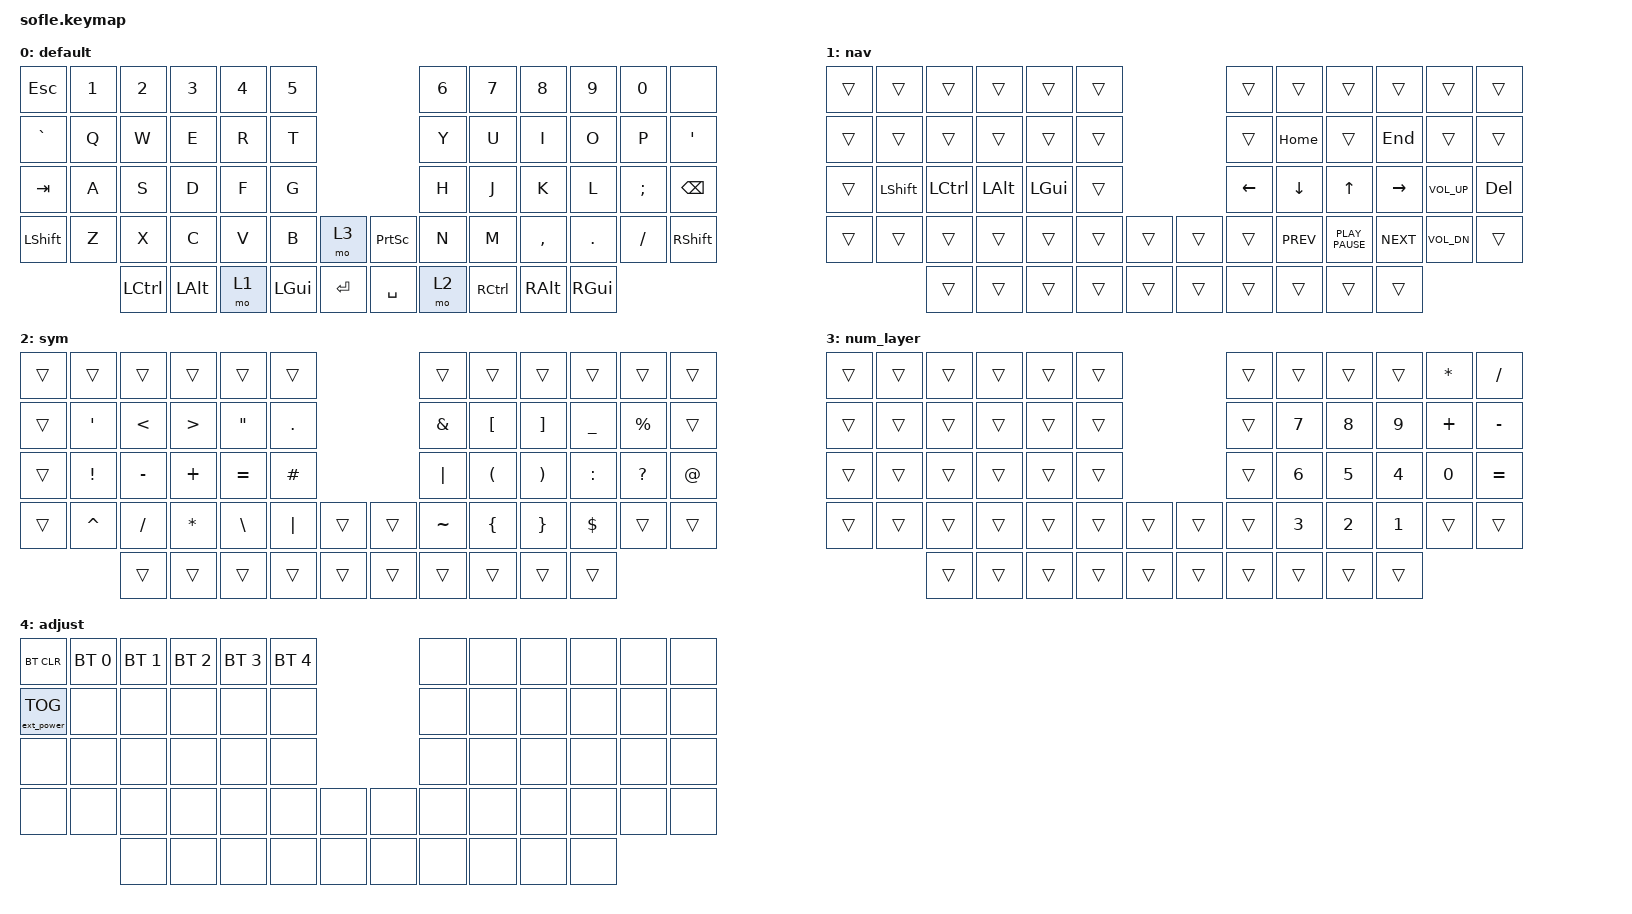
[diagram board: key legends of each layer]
/*
 * Copyright (c) 2020 The ZMK Contributors
 *
 * SPDX-License-Identifier: MIT
 */

#include <behaviors.dtsi>
#include <dt-bindings/zmk/bt.h>
#include <dt-bindings/zmk/ext_power.h>
#include <dt-bindings/zmk/keys.h>

#define BASE 0
#define NAV 1
#define RAISE 2
#define ADJUST 3

/ {
    // Activate ADJUST layer by pressing raise and lower

    conditional_layers {
        compatible = "zmk,conditional-layers";

        adjust_layer {
            if-layers = <1 2>;
            then-layer = <4>;
        };
    };

    combos {
        compatible = "zmk,combos";

        // PRESSING Q + W

        combo_esc {
            timeout-ms = <50>;
            key-positions = <13 14>;
            bindings = <&kp ESC>;
        };

        // PRESSING Z + X

        combo_tab {
            timeout-ms = <50>;
            key-positions = <38 39>;
            bindings = <&kp TAB>;
        };

        // PRESSING , + .

        combo_ctrl {
            timeout-ms = <50>;
            key-positions = <47 46>;
            bindings = <&kp LEFT_CONTROL>;
        };
    };

    keymap {
        compatible = "zmk,keymap";

        default_layer {
            display-name = "default";

            // ------------------------------------------------------------------------------------------------------------
            // |   `   |  1  |  2  |  3   |  4   |  5   |                   |  6   |  7    |  8    |  9   |   0   |       |
            // |  ESC  |  Q  |  W  |  E   |  R   |  T   |                   |  Y   |  U    |  I    |  O   |   P   | BKSPC |
            // |  TAB  |  A  |  S  |  D   |  F   |  G   |                   |  H   |  J    |  K    |  L   |   ;   |   '   |
            // | SHIFT |  Z  |  X  |  C   |  V   |  B   |  MUTE  |  |       |  N   |  M    |  ,    |  .   |   /   | SHIFT |
            //               | GUI | ALT  | CTRL | NAV|  ENTER |  | SPACE | RAISE| CTRL  | ALT   | GUI  |

            bindings = <
&kp ESC         &kp N1  &kp N2            &kp N3    &kp N4  &kp N5                                &kp N6  &kp N7     &kp N8     &kp N9    &kp N0    &none
&kp GRAVE       &kp Q   &kp W             &kp E     &kp R   &kp T                                 &kp Y   &kp U      &kp I      &kp O     &kp P     &kp APOSTROPHE
&kp TAB         &kp A   &kp S             &kp D     &kp F   &kp G                                 &kp H   &kp J      &kp K      &kp L     &kp SEMI  &kp BACKSPACE
&kp LEFT_SHIFT  &kp Z   &kp X             &kp C     &kp V   &kp B     &mo 3      &kp PRINTSCREEN  &kp N   &kp M      &kp COMMA  &kp DOT   &kp FSLH  &kp RSHFT
                        &kp LEFT_CONTROL  &kp LALT  &mo 1   &kp LGUI  &kp RET    &kp SPACE        &mo 2   &kp RCTRL  &kp RALT   &kp RGUI
            >;
        };

        nav_layer {
            display-name = "nav";

            // ------------------------------------------------------------------------------------------------------------
            // |       |     |     |      |      |      |                   |      |       |       |       |       |       |
            // |       |     |     |      |      |      |                   |      |       | HOME  |       |  END  |  DEL  |
            // |       |     |     |      |      |      |                   | LEFT |  UP   | DOWN  | RIGHT |  VOL+ |       |
            // |       |     |     |      |      |      |        |  |       |      |  PREV | PLAY  | NEXT  |  VOL- |       |
            //               |     |      |      |      |        |  |       |      |       |       |       | 

            bindings = <
&trans  &trans     &trans     &trans    &trans    &trans                    &trans    &trans      &trans            &trans      &trans        &trans
&trans  &trans     &trans     &trans    &trans    &trans                    &trans    &kp HOME    &trans            &kp END     &trans        &trans
&trans  &kp LSHFT  &kp LCTRL  &kp LALT  &kp LGUI  &trans                    &kp LEFT  &kp DOWN    &kp UP            &kp RIGHT   &kp K_VOL_UP  &kp DELETE
&trans  &trans     &trans     &trans    &trans    &trans  &trans    &trans  &trans    &kp K_PREV  &kp K_PLAY_PAUSE  &kp K_NEXT  &kp K_VOL_DN  &trans
                   &trans     &trans    &trans    &trans  &trans    &trans  &trans    &trans      &trans            &trans
            >;
        };

        sym_layer {
            display-name = "sym";

            // ------------------------------------------------------------------------------------------------------------
            // | BTCLR | BT1  | BT2  |  BT3  |  BT4  |  BT5 |                |      |      |       |      |       |       |
            // |       | INS  | PSCR | GUI   |       |      |                | PGUP |      |   ^   |      |       |       |
            // |       | ALT  | CTRL | SHIFT |       | CAPS |                | PGDN |   <- |   v   |  ->  |  DEL  | BKSPC |
            // |       | UNDO | CUT  | COPY  | PASTE |      |      |  |      |      |      |       |      |       |       |
            //                |      |       |       |      |      |  |      |      |      |       |      |

            bindings = <
&trans  &trans     &trans     &trans        &trans             &trans                      &trans     &trans                &trans                 &trans      &trans        &trans
&trans  &kp SQT    &kp LT     &kp GT        &kp DOUBLE_QUOTES  &kp DOT                     &kp AMPS   &kp LEFT_BRACKET      &kp RIGHT_BRACKET      &kp UNDER   &kp PERCENT   &trans
&trans  &kp EXCL   &kp MINUS  &kp PLUS      &kp EQUAL          &kp HASH                    &kp PIPE   &kp LEFT_PARENTHESIS  &kp RIGHT_PARENTHESIS  &kp COLON   &kp QUESTION  &kp AT
&trans  &kp CARET  &kp SLASH  &kp ASTERISK  &kp BACKSLASH      &kp PIPE  &trans    &trans  &kp TILDE  &kp LEFT_BRACE        &kp RIGHT_BRACE        &kp DOLLAR  &trans        &trans
                   &trans     &trans        &trans             &trans    &trans    &trans  &trans     &trans                &trans                 &trans
            >;
        };

        num_layer {
            bindings = <
&trans  &trans  &trans  &trans  &trans  &trans                    &trans  &trans  &trans  &trans  &kp STAR  &kp FSLH
&trans  &trans  &trans  &trans  &trans  &trans                    &trans  &kp N7  &kp N8  &kp N9  &kp PLUS  &kp MINUS
&trans  &trans  &trans  &trans  &trans  &trans                    &trans  &kp N6  &kp N5  &kp N4  &kp N0    &kp EQUAL
&trans  &trans  &trans  &trans  &trans  &trans  &trans    &trans  &trans  &kp N3  &kp N2  &kp N1  &trans    &trans
                &trans  &trans  &trans  &trans  &trans    &trans  &trans  &trans  &trans  &trans
            >;
        };

        adjust_layer {
            // ----------------------------------------------------------------------------------------------------------------------------
            // | BTCLR  |  BT1    |  BT2    |   BT3   |   BT4   |   BT5   |                  |      |      |       |      |       |       |
            // | EXTPWR |         |         |         |         |         |                  |      |      |       |      |       |       |
            // |        |         |         |         |         |         |                  |      |      |       |      |       |       |
            // |        |         |         |         |         |         |         | |      |      |      |       |      |       |       |
            //                    |         |         |         |         |         | |      |      |      |       |      |

            display-name = "adjust";
            bindings = <
&bt BT_CLR         &bt BT_SEL 0  &bt BT_SEL 1  &bt BT_SEL 2  &bt BT_SEL 3  &bt BT_SEL 4                  &none  &none  &none  &none  &none  &none
&ext_power EP_TOG  &none         &none         &none         &none         &none                         &none  &none  &none  &none  &none  &none
&none              &none         &none         &none         &none         &none                         &none  &none  &none  &none  &none  &none
&none              &none         &none         &none         &none         &none         &none    &none  &none  &none  &none  &none  &none  &none
                                 &none         &none         &none         &none         &none    &none  &none  &none  &none  &none
            >;
        };
    };
};
